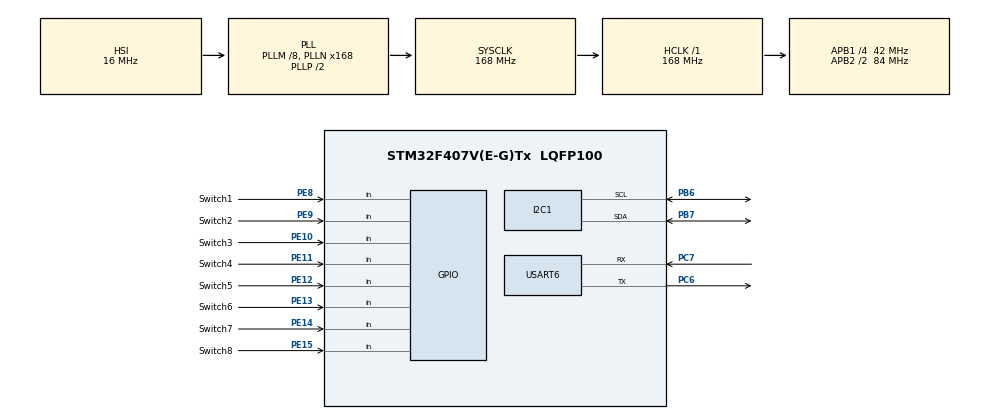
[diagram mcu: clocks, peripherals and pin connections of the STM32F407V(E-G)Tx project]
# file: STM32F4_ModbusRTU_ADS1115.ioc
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Dma.Request0=USART6_RX
Dma.USART6_RX.0.Direction=DMA_PERIPH_TO_MEMORY
Dma.USART6_RX.0.FIFOMode=DMA_FIFOMODE_DISABLE
Dma.USART6_RX.0.Instance=DMA2_Stream1
Dma.USART6_RX.0.MemDataAlignment=DMA_MDATAALIGN_BYTE
Dma.USART6_RX.0.MemInc=DMA_MINC_ENABLE
Dma.USART6_RX.0.Mode=DMA_CIRCULAR
Dma.USART6_RX.0.PeriphDataAlignment=DMA_PDATAALIGN_BYTE
Dma.USART6_RX.0.PeriphInc=DMA_PINC_DISABLE
Dma.USART6_RX.0.Priority=DMA_PRIORITY_LOW
FREERTOS.Tasks01=ModbusTransTask,1,128,ModbusTransThread,Default,NULL,Dynamic,NULL,NULL;ModbusSetTask,1,128,ModbusSetThread,Default,NULL,Dynamic,NULL,NULL;ADS1115Task,0,128,ADS1115Thread,Default,NULL,Dynamic,NULL,NULL
Mcu.Family=STM32F4
Mcu.Name=STM32F407V(E-G)Tx
Mcu.Package=LQFP100
NVIC.DMA2_Stream1_IRQn=true\:5\:0\:false\:false\:true\:true\:false\:true
NVIC.PriorityGroup=NVIC_PRIORITYGROUP_4
NVIC.TIM3_IRQn=true\:0\:0\:false\:false\:true\:false\:false\:true
NVIC.TimeBase=TIM3_IRQn
NVIC.TimeBaseIP=TIM3
NVIC.USART6_IRQn=true\:5\:0\:false\:false\:true\:true\:true\:true
PB6.Mode=I2C
PB6.Signal=I2C1_SCL
PB7.Mode=I2C
PB7.Signal=I2C1_SDA
PC6.Mode=Asynchronous
PC6.Signal=USART6_TX
PC7.Mode=Asynchronous
PC7.Signal=USART6_RX
PE10.GPIO_Label=Switch3
PE10.Signal=GPIO_Input
PE11.GPIO_Label=Switch4
PE11.Signal=GPIO_Input
PE12.GPIO_Label=Switch5
PE12.Signal=GPIO_Input
PE13.GPIO_Label=Switch6
PE13.Signal=GPIO_Input
PE14.GPIO_Label=Switch7
PE14.Signal=GPIO_Input
PE15.GPIO_Label=Switch8
PE15.Signal=GPIO_Input
PE8.GPIO_Label=Switch1
PE8.Signal=GPIO_Input
PE9.GPIO_Label=Switch2
PE9.Signal=GPIO_Input
ProjectManager.HeapSize=0x200
ProjectManager.StackSize=0x400
ProjectManager.TargetToolchain=STM32CubeIDE
RCC.48MHZClocksFreq_Value=84000000
RCC.AHBFreq_Value=168000000
RCC.APB1CLKDivider=RCC_HCLK_DIV4
RCC.APB1Freq_Value=42000000
RCC.APB1TimFreq_Value=84000000
RCC.APB2CLKDivider=RCC_HCLK_DIV2
RCC.APB2Freq_Value=84000000
RCC.APB2TimFreq_Value=168000000
RCC.CortexFreq_Value=168000000
RCC.HCLKFreq_Value=168000000
RCC.HSE_VALUE=25000000
RCC.HSI_VALUE=16000000
RCC.LSE_VALUE=32768
RCC.PLLM=8
RCC.PLLN=168
RCC.SYSCLKFreq_VALUE=168000000
RCC.SYSCLKSource=RCC_SYSCLKSOURCE_PLLCLK
RCC.VCOOutputFreq_Value=336000000
USART6.VirtualMode=VM_ASYNC
VP_FREERTOS_VS_CMSIS_V1.Mode=CMSIS_V1
VP_SYS_VS_tim3.Mode=TIM3
board=custom

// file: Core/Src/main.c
/* USER CODE BEGIN Header */
/**
  ******************************************************************************
  * @file           : main.c
  * @brief          : Main program body
  ******************************************************************************
  * @attention
  *
  * <h2><center>&copy; Copyright (c) 2020 STMicroelectronics.
  * All rights reserved.</center></h2>
  *
  * This software component is licensed by ST under BSD 3-Clause license,
  * the "License"; You may not use this file except in compliance with the
  * License. You may obtain a copy of the License at:
  *                        opensource.org/licenses/BSD-3-Clause
  *
  ******************************************************************************
  */
/* USER CODE END Header */

#include "main.h"
#include "cmsis_os.h"

/* USER CODE BEGIN Includes */
#include "modbus.h"
#include "Delay.h"
#include <stdio.h>
#include <math.h>
#include "ads1115.h"
/* USER CODE END Includes */

/* USER CODE BEGIN PTD */

uint8_t rxbuffer[20];
uint8_t ADS1115_ADDRESS = 0x48;
unsigned char ADSwrite[6];
unsigned char ADS1115_ADDRES[4];
int16_t reading;
float voltageT[4];
const float voltageConv = 6.114 / 32768.0;
/* USER CODE END PTD */

/* USER CODE BEGIN PD */
typedef enum
{
  Switch_Off    = 0x00U,
  Switch_On       = 0x01U,
} SwitchStatus;

typedef enum
{
  differentialMode    = 0x00U,
  singleEndMode       = 0x01U,
} ads1115QeuryMode;

/* USER CODE END PD */

I2C_HandleTypeDef hi2c1;

UART_HandleTypeDef huart6;
DMA_HandleTypeDef hdma_usart6_rx;

osThreadId ModbusTransTaskHandle;
osThreadId ModbusSetTaskHandle;
osThreadId ADS1115TaskHandle;
/* USER CODE BEGIN PV */
uint8_t SLAVEID[8];
uint8_t ADCVALUE[16];
uint8_t slaveID = 0;
uint8_t SwitchValue[8];

float voltage = 0;
/* USER CODE END PV */

void SystemClock_Config(void);
static void MX_GPIO_Init(void);
static void MX_DMA_Init(void);
static void MX_USART6_UART_Init(void);
static void MX_I2C1_Init(void);
void ModbusTransThread(void const * argument);
void ModbusSetThread(void const * argument);
void ADS1115Thread(void const * argument);

int main(void)
{

  /* MCU Configuration--------------------------------------------------------*/

  /* Reset of all peripherals, Initializes the Flash interface and the Systick. */
  HAL_Init();

  /* Configure the system clock */
  SystemClock_Config();

  /* Initialize all configured peripherals */
  MX_GPIO_Init();
  MX_DMA_Init();
  MX_USART6_UART_Init();
  MX_I2C1_Init();
  /* USER CODE BEGIN 2 */
  delay_init(168);

  //TODO: read DIP switch
  SwitchValue[0] = HAL_GPIO_ReadPin(GPIOE, Switch1_Pin);
  SwitchValue[1] = HAL_GPIO_ReadPin(GPIOE, Switch2_Pin);
  SwitchValue[2] = HAL_GPIO_ReadPin(GPIOE, Switch3_Pin);
  SwitchValue[3] = HAL_GPIO_ReadPin(GPIOE, Switch4_Pin);
  SwitchValue[4] = HAL_GPIO_ReadPin(GPIOE, Switch5_Pin);
  SwitchValue[5] = HAL_GPIO_ReadPin(GPIOE, Switch6_Pin);
  SwitchValue[6] = HAL_GPIO_ReadPin(GPIOE, Switch7_Pin);
  SwitchValue[7] = HAL_GPIO_ReadPin(GPIOE, Switch8_Pin);

  //TODO: converter DIP switch to modbus slave using binary
  for(uint8_t i = 0; i <8; i++)
  {
	  slaveID += SwitchValue[i] * pow(2,i);
  }

  delay_ms(100);

 //ADCstatus =  HAL_ADC_Stop_DMA(&hadc1);

  HAL_UART_Receive_DMA(&huart6, rxbuffer, 8);

  ADS1115_ADDRES[0] = ADS1115_ADDRESS_ADDR_GND;
  ADS1115_ADDRES[1] = ADS1115_ADDRESS_ADDR_VDD;
  ADS1115_ADDRES[2] = ADS1115_ADDRESS_ADDR_SDA;
  ADS1115_ADDRES[3] = ADS1115_ADDRESS_ADDR_SCL;
  /* USER CODE END 2 */

  /* Create the thread(s) */
  /* definition and creation of ModbusTransTask */
  osThreadDef(ModbusTransTask, ModbusTransThread, osPriorityAboveNormal, 0, 128);
  ModbusTransTaskHandle = osThreadCreate(osThread(ModbusTransTask), NULL);

  /* definition and creation of ModbusSetTask */
  osThreadDef(ModbusSetTask, ModbusSetThread, osPriorityAboveNormal, 0, 128);
  ModbusSetTaskHandle = osThreadCreate(osThread(ModbusSetTask), NULL);

  /* definition and creation of ADS1115Task */
  osThreadDef(ADS1115Task, ADS1115Thread, osPriorityNormal, 0, 128);
  ADS1115TaskHandle = osThreadCreate(osThread(ADS1115Task), NULL);

  /* USER CODE BEGIN RTOS_THREADS */
  ModBus_Init();
  ModBus_SetAddress(slaveID);
  /* add threads, ... */
  /* USER CODE END RTOS_THREADS */

  /* Start scheduler */
  osKernelStart();

  /* We should never get here as control is now taken by the scheduler */
  /* Infinite loop */
  while (1)
  {

  }
}

void SystemClock_Config(void)
{
  RCC_OscInitTypeDef RCC_OscInitStruct = {0};
  RCC_ClkInitTypeDef RCC_ClkInitStruct = {0};

  /** Configure the main internal regulator output voltage
  */
  __HAL_RCC_PWR_CLK_ENABLE();
  __HAL_PWR_VOLTAGESCALING_CONFIG(PWR_REGULATOR_VOLTAGE_SCALE1);
  /** Initializes the CPU, AHB and APB busses clocks
  */
  RCC_OscInitStruct.OscillatorType = RCC_OSCILLATORTYPE_HSI;
  RCC_OscInitStruct.HSIState = RCC_HSI_ON;
  RCC_OscInitStruct.HSICalibrationValue = RCC_HSICALIBRATION_DEFAULT;
  RCC_OscInitStruct.PLL.PLLState = RCC_PLL_ON;
  RCC_OscInitStruct.PLL.PLLSource = RCC_PLLSOURCE_HSI;
  RCC_OscInitStruct.PLL.PLLM = 8;
  RCC_OscInitStruct.PLL.PLLN = 168;
  RCC_OscInitStruct.PLL.PLLP = RCC_PLLP_DIV2;
  RCC_OscInitStruct.PLL.PLLQ = 4;
  if (HAL_RCC_OscConfig(&RCC_OscInitStruct) != HAL_OK)
  {
    Error_Handler();
  }
  /** Initializes the CPU, AHB and APB busses clocks
  */
  RCC_ClkInitStruct.ClockType = RCC_CLOCKTYPE_HCLK|RCC_CLOCKTYPE_SYSCLK
                              |RCC_CLOCKTYPE_PCLK1|RCC_CLOCKTYPE_PCLK2;
  RCC_ClkInitStruct.SYSCLKSource = RCC_SYSCLKSOURCE_PLLCLK;
  RCC_ClkInitStruct.AHBCLKDivider = RCC_SYSCLK_DIV1;
  RCC_ClkInitStruct.APB1CLKDivider = RCC_HCLK_DIV4;
  RCC_ClkInitStruct.APB2CLKDivider = RCC_HCLK_DIV2;

  if (HAL_RCC_ClockConfig(&RCC_ClkInitStruct, FLASH_LATENCY_5) != HAL_OK)
  {
    Error_Handler();
  }
}

static void MX_I2C1_Init(void)
{

  hi2c1.Instance = I2C1;
  hi2c1.Init.ClockSpeed = 100000;
  hi2c1.Init.DutyCycle = I2C_DUTYCYCLE_2;
  hi2c1.Init.OwnAddress1 = 0;
  hi2c1.Init.AddressingMode = I2C_ADDRESSINGMODE_7BIT;
  hi2c1.Init.DualAddressMode = I2C_DUALADDRESS_DISABLE;
  hi2c1.Init.OwnAddress2 = 0;
  hi2c1.Init.GeneralCallMode = I2C_GENERALCALL_DISABLE;
  hi2c1.Init.NoStretchMode = I2C_NOSTRETCH_DISABLE;
  if (HAL_I2C_Init(&hi2c1) != HAL_OK)
  {
    Error_Handler();
  }

}

static void MX_USART6_UART_Init(void)
{

  huart6.Instance = USART6;
  huart6.Init.BaudRate = 115200;
  huart6.Init.WordLength = UART_WORDLENGTH_8B;
  huart6.Init.StopBits = UART_STOPBITS_1;
  huart6.Init.Parity = UART_PARITY_NONE;
  huart6.Init.Mode = UART_MODE_TX_RX;
  huart6.Init.HwFlowCtl = UART_HWCONTROL_NONE;
  huart6.Init.OverSampling = UART_OVERSAMPLING_16;
  if (HAL_UART_Init(&huart6) != HAL_OK)
  {
    Error_Handler();
  }

}

static void MX_DMA_Init(void)
{

  /* DMA controller clock enable */
  __HAL_RCC_DMA2_CLK_ENABLE();

  /* DMA interrupt init */
  /* DMA2_Stream1_IRQn interrupt configuration */
  HAL_NVIC_SetPriority(DMA2_Stream1_IRQn, 5, 0);
  HAL_NVIC_EnableIRQ(DMA2_Stream1_IRQn);

}

static void MX_GPIO_Init(void)
{
  GPIO_InitTypeDef GPIO_InitStruct = {0};

  /* GPIO Ports Clock Enable */
  __HAL_RCC_GPIOE_CLK_ENABLE();
  __HAL_RCC_GPIOC_CLK_ENABLE();
  __HAL_RCC_GPIOB_CLK_ENABLE();

  /*Configure GPIO pins : Switch1_Pin Switch2_Pin Switch3_Pin Switch4_Pin
                           Switch5_Pin Switch6_Pin Switch7_Pin Switch8_Pin */
  GPIO_InitStruct.Pin = Switch1_Pin|Switch2_Pin|Switch3_Pin|Switch4_Pin
                          |Switch5_Pin|Switch6_Pin|Switch7_Pin|Switch8_Pin;
  GPIO_InitStruct.Mode = GPIO_MODE_INPUT;
  GPIO_InitStruct.Pull = GPIO_NOPULL;
  HAL_GPIO_Init(GPIOE, &GPIO_InitStruct);

}

/* USER CODE BEGIN 4 */
void HAL_UART_RxCpltCallback(UART_HandleTypeDef *huart)
{
 /* Prevent unused argument(s) compilation warning */
 UNUSED(huart);
 /* NOTE: This function should not be modified, when the callback is needed,
          the HAL_UART_RxCpltCallback could be implemented in the user file
  */

 	HAL_UART_Receive_DMA(&huart6, rxbuffer, 20);
	for(int i=0;i<8;i++)
	{
		 osMessagePut(ModBusInHandle,rxbuffer[i], 100);
	}
	memset(rxbuffer,0,strlen(rxbuffer));
}

/* USER CODE END 4 */

void ModbusTransThread(void const * argument)
{
  /* USER CODE BEGIN 5 */
	  uint8_t buf[256]; // buffer, where we collect output data
	  uint8_t c = 0; // counter for buffer fill
	  uint8_t count = 0;
  /* Infinite loop */
  for(;;)
  {
	 // ModBus_SetRegister(0,5+1);

    osEvent evt = osMessageGet(ModBusOutHandle,200); // wait here 200 tick
    if (evt.status == osEventMessage)
      {

        buf[c++]=(uint8_t) evt.value.v;
      }
    if (evt.status == osEventTimeout)
      {
        if( (c > 0) && (c < 254) ) // ok, something in buffer exist, lets send it
        {
        	HAL_StatusTypeDef AA = HAL_UART_Transmit(&huart6, buf, c, 50); // by USB-CDC
        }
      c=0;
      }

    osDelay(1);
  }
  /* USER CODE END 5 */
}

void ModbusSetThread(void const * argument)
{
  /* USER CODE BEGIN ModbusSetThread */
  /* Infinite loop */
  for(;;)
  {

		   ModBus_SetRegister(0,(int)Convert2Modbus(ADS1115_ADDRESS_ADDR_GND_BOARD.ADS1115_CH1.data));
		   ModBus_SetRegister(1,(int)Convert2Modbus(ADS1115_ADDRESS_ADDR_GND_BOARD.ADS1115_CH2.data));
		   ModBus_SetRegister(2,(int)Convert2Modbus(ADS1115_ADDRESS_ADDR_VDD_BOARD.ADS1115_CH1.data));
		   ModBus_SetRegister(3,(int)Convert2Modbus(ADS1115_ADDRESS_ADDR_VDD_BOARD.ADS1115_CH2.data));
		   ModBus_SetRegister(4,(int)Convert2Modbus(ADS1115_ADDRESS_ADDR_SDA_BOARD.ADS1115_CH1.data));
		   ModBus_SetRegister(5,(int)Convert2Modbus(ADS1115_ADDRESS_ADDR_SDA_BOARD.ADS1115_CH2.data));
		   ModBus_SetRegister(6,(int)Convert2Modbus(ADS1115_ADDRESS_ADDR_SCL_BOARD.ADS1115_CH1.data));
		   ModBus_SetRegister(7,(int)Convert2Modbus(ADS1115_ADDRESS_ADDR_SCL_BOARD.ADS1115_CH2.data));

//		   ModBus_SetRegister(1,1);
//		   ModBus_SetRegister(2,(int)ADS1115_ADDRESS_ADDR_VDD_BOARD.ADS1115_CH1.data * 1000);
//		   ModBus_SetRegister(3,(int)ADS1115_ADDRESS_ADDR_VDD_BOARD.ADS1115_CH2.data * 1000);
//		   ModBus_SetRegister(4,(int)ADS1115_ADDRESS_ADDR_SDA_BOARD.ADS1115_CH1.data * 1000);
//		   ModBus_SetRegister(5,(int)ADS1115_ADDRESS_ADDR_SDA_BOARD.ADS1115_CH2.data * 1000);
//		   ModBus_SetRegister(6,(int)ADS1115_ADDRESS_ADDR_SCL_BOARD.ADS1115_CH1.data * 1000);
//		   ModBus_SetRegister(7,(int)ADS1115_ADDRESS_ADDR_SCL_BOARD.ADS1115_CH2.data * 1000);

    osDelay(1);
  }
  /* USER CODE END ModbusSetThread */
}

void ADS1115Thread(void const * argument)
{
  /* USER CODE BEGIN ADS1115Thread */
  /* Infinite loop */
  for(;;)
  {

	  uint8_t ADS1115_ADDRESS_ADDR = 0;
	  for( int j = ADS1115_ADDRESS_ADDR_GND; j <= ADS1115_ADDRESS_ADDR_SCL; j++) {
		  	  switch(j)
			  {
				  case(ADS1115_ADDRESS_ADDR_GND):
					ADS1115_ADDRESS_ADDR = ADS1115_ADDRESS_ADDR_GND; // 10000001 CH0+ CH1
					Read_ads1115(&ADS1115_ADDRESS_ADDR_GND_BOARD, ADS1115_ADDRESS_ADDR);
					break;
				  case(ADS1115_ADDRESS_ADDR_VDD):
					ADS1115_ADDRESS_ADDR = ADS1115_ADDRESS_ADDR_VDD; // 10000001 CH1+ CH2
					Read_ads1115(&ADS1115_ADDRESS_ADDR_VDD_BOARD, ADS1115_ADDRESS_ADDR);
					break;
				  case(ADS1115_ADDRESS_ADDR_SDA):
					ADS1115_ADDRESS_ADDR = ADS1115_ADDRESS_ADDR_SDA; // 10000001 CH3+ CH4
					Read_ads1115(&ADS1115_ADDRESS_ADDR_SDA_BOARD, ADS1115_ADDRESS_ADDR);
					break;
				  case(ADS1115_ADDRESS_ADDR_SCL):
					ADS1115_ADDRESS_ADDR = ADS1115_ADDRESS_ADDR_SCL; // 10000001 CH5+ CH6
					Read_ads1115(&ADS1115_ADDRESS_ADDR_SCL_BOARD, ADS1115_ADDRESS_ADDR);
					break;
		  }
	  }
	  osDelay(1);
  }
  /* USER CODE END ADS1115Thread */
}

 /**
  * @brief  Period elapsed callback in non blocking mode
  * @note   This function is called  when TIM3 interrupt took place, inside
  * HAL_TIM_IRQHandler(). It makes a direct call to HAL_IncTick() to increment
  * a global variable "uwTick" used as application time base.
  * @param  htim : TIM handle
  * @retval None
  */
void HAL_TIM_PeriodElapsedCallback(TIM_HandleTypeDef *htim)
{
  if (htim->Instance == TIM3) {
    HAL_IncTick();
  }
}

void Error_Handler(void)
{
}

/************************ (C) COPYRIGHT STMicroelectronics *****END OF FILE****/
